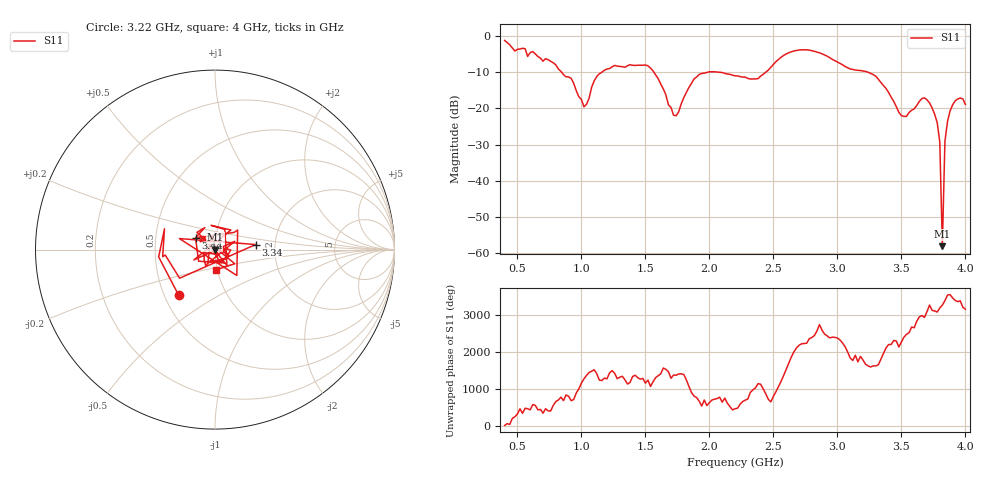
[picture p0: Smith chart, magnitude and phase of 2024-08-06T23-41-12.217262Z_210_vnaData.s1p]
!Created with skrf (http://scikit-rf.org).
# Hz S RI R 50.0
!freq ReS11 ImS11
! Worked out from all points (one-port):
!   181 points, 400 MHz to 4 GHz, reference 50 ohm
!   lowest |S11| = -58.1 dB at 3.82 GHz (marker M1), VSWR 1.00, Z = 50.1 + j0.0443 ohm
!   |S11| at or under -10 dB: 1.567 GHz to 1.986 GHz (418.9 MHz wide, 23.6 % of centre); 2.084 GHz to 2.439 GHz (355.1 MHz wide, 15.7 % of centre); 3.24 GHz to end of sweep (the widest 3 of 4)
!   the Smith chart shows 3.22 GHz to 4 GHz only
!   S11 on the Smith chart (normalised r, x): 3.22 GHz: 0.59, -0.34; 3.34 GHz: 1.58, +0.09; 3.44 GHz: 0.80, +0.10; 4 GHz: 0.98, -0.23
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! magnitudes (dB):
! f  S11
! 400 MHz  -1.2
! 860 MHz  -10.6
! 920 MHz  -11.7
! 1.02 GHz  -19.6
! 1.12 GHz  -11.2
! 1.3 GHz  -8.4
! 1.52 GHz  -8.2
! 1.6 GHz  -11.8
! 1.72 GHz  -21.9
! 1.76 GHz  -20.9
! 1.92 GHz  -10.6
! 2.2 GHz  -11.0
! 2.38 GHz  -11.8
! 2.66 GHz  -4.1
! 3.1 GHz  -9.1
! 3.22 GHz  -9.8
! 3.34 GHz  -12.8
! 3.44 GHz  -18.0
! 3.5 GHz  -22.0
! 3.56 GHz  -21.1
! 3.68 GHz  -17.1
! 3.78 GHz  -24.0
! 3.8 GHz  -29.3
! 3.82 GHz  -58.1
! 3.84 GHz  -29.2
! 3.86 GHz  -23.7
! 3.92 GHz  -17.9
! 4 GHz  -18.9
